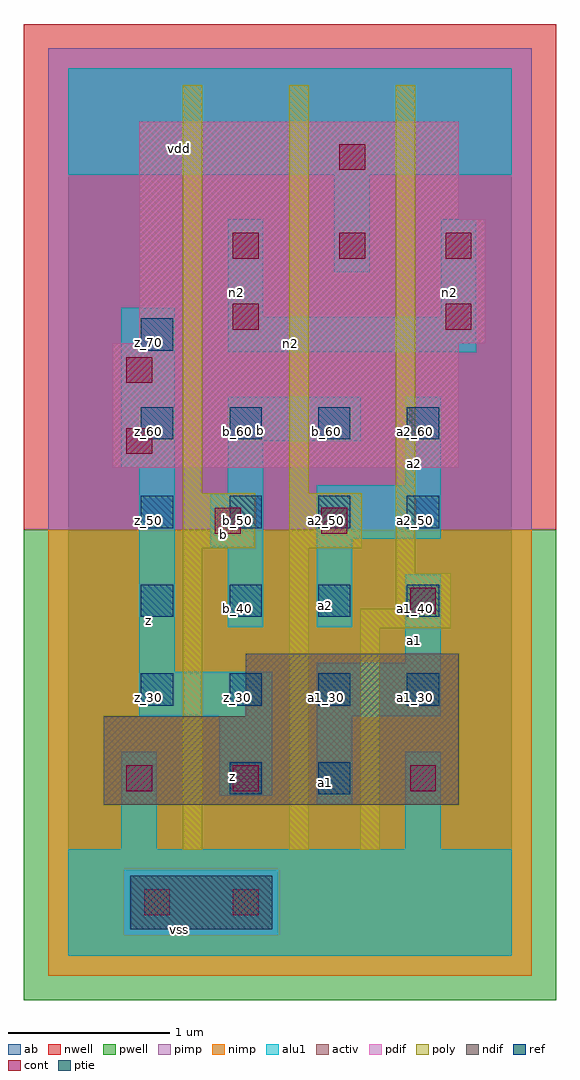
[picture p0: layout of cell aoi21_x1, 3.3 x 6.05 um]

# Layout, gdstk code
import gdstk
lib = gdstk.Library(unit=1e-6, precision=2.5e-09)
def R(c, l, rs):  # rectangles x0, y0, x1, y1
    for r in rs: c.add(gdstk.rectangle(r[:2], r[2:], *l))
def A(c, l, x, y, w, h, nx, ny, dx, dy):  # array of equal rectangles
    R(c, l, [(x+i*dx, y+j*dy, x+i*dx+w, y+j*dy+h) for i in range(nx) for j in range(ny)])
ndif = (3, 0)
pdif = (4, 0)
ptie = (6, 0)
ref = (24, 0)
cont = (25, 0)
pwell = (41, 0)
nwell = (42, 0)
activ = (43, 0)
pimp = (44, 0)
nimp = (45, 0)
poly = (46, 0)
alu1 = (49, 0)
ab = (63, 0)

aoi21_x1 = lib.new_cell('aoi21_x1')
R(aoi21_x1, ndif, [(0.22,0.935,2.42,1.485), (1.1,1.485,2.42,1.87)])
R(aoi21_x1, pdif, [(0.275,3.025,2.42,3.795), (0.44,3.795,2.585,4.565), (0.44,4.565,2.42,5.17)])
R(aoi21_x1, ptie, [(0.385,0.165,1.265,0.495)])
A(aoi21_x1, ref, 0.45, 1.55, 0.2, 0.2, 4, 4, 0.55, 0.55)
R(aoi21_x1, ref, [(1,1,1.2,1.2), (1.55,1,1.75,1.2), (0.45,3.75,0.65,3.95)])
A(aoi21_x1, cont, 1.02, 4.32, 0.16, 0.16, 3, 1, 0.66, 0)
R(aoi21_x1, cont, [(0.47,0.25,0.63,0.41), (1.02,0.25,1.18,0.41), (0.36,1.02,0.52,1.18), (1.02,1.02,1.18,1.18), (2.12,1.02,2.28,1.18), (2.12,2.12,2.28,2.28), (0.91,2.615,1.07,2.775), (1.57,2.615,1.73,2.775), (0.36,3.11,0.52,3.27), (0.36,3.55,0.52,3.71), (1.02,3.88,1.18,4.04), (2.34,3.88,2.5,4.04), (1.68,4.87,1.84,5.03)])
R(aoi21_x1, pwell, [(-0.275,-0.275,3.025,2.64)])
R(aoi21_x1, nwell, [(-0.275,2.64,3.025,5.775)])
R(aoi21_x1, activ, [(0.385,0.165,1.265,0.495), (0.22,0.935,2.42,1.485), (1.1,1.485,2.42,1.87), (0.275,3.025,2.42,3.795), (0.44,3.795,2.585,4.565), (0.44,4.565,2.42,5.17)])
R(aoi21_x1, pimp, [(0.345,0.125,1.305,0.535), (-0.125,2.64,2.875,5.625)])
R(aoi21_x1, nimp, [(-0.125,-0.125,2.875,0.125), (-0.125,0.125,0.345,0.535), (1.305,0.125,2.875,0.535), (-0.125,0.535,2.875,2.64)])
R(aoi21_x1, poly, [(0.71,0.655,0.83,2.525), (1.37,0.655,1.49,2.525), (1.81,0.655,1.93,2.03), (1.81,2.03,2.37,2.15), (2.03,2.15,2.37,2.37), (2.03,2.37,2.15,5.395), (0.71,2.525,1.16,2.865), (1.37,2.525,1.82,2.865), (0.71,2.865,0.83,5.395), (1.37,2.865,1.49,5.395)])
R(aoi21_x1, alu1, [(0,0,2.75,0.66), (0.33,0.66,0.55,1.265), (2.09,0.66,2.31,1.265), (1.54,0.935,1.76,1.485), (0.935,0.99,1.265,1.485), (0.44,1.485,1.265,1.76), (1.54,1.485,2.31,1.815), (0.44,1.76,0.66,3.025), (2.09,1.815,2.31,2.365), (0.99,2.035,1.21,2.53), (1.54,2.035,1.76,2.585), (0.88,2.53,1.21,2.86), (1.54,2.585,2.31,2.915), (0.99,2.86,1.21,3.19), (2.09,2.915,2.31,3.465), (0.33,3.025,0.66,4.015), (0.99,3.19,1.815,3.465), (0.99,3.74,2.53,3.96), (0.99,3.96,1.21,4.565), (2.31,3.96,2.53,4.565), (1.65,4.235,1.87,4.84), (0,4.84,2.75,5.5)])
R(aoi21_x1, ab, [(0,0,2.75,5.5)])
aoi21_x1.add(gdstk.Label('vss', (0.6875,0.165), layer=49, texttype=0))
aoi21_x1.add(gdstk.Label('a1', (1.595,1.0725), layer=49, texttype=0))
aoi21_x1.add(gdstk.Label('z', (1.0175,1.1125), layer=49, texttype=0))
aoi21_x1.add(gdstk.Label('a1', (2.145,1.9525), layer=49, texttype=0))
aoi21_x1.add(gdstk.Label('a2', (1.595,2.1725), layer=49, texttype=0))
aoi21_x1.add(gdstk.Label('b', (0.9625,2.6125), layer=49, texttype=0))
aoi21_x1.add(gdstk.Label('a2', (2.145,3.0525), layer=49, texttype=0))
aoi21_x1.add(gdstk.Label('b', (1.195,3.2575), layer=49, texttype=0))
aoi21_x1.add(gdstk.Label('z', (0.495,2.075), layer=49, texttype=0))
aoi21_x1.add(gdstk.Label('n2', (1.375,3.795), layer=49, texttype=0))
aoi21_x1.add(gdstk.Label('n2', (2.365,4.11), layer=49, texttype=0))
aoi21_x1.add(gdstk.Label('n2', (1.045,4.11), layer=49, texttype=0))
aoi21_x1.add(gdstk.Label('vdd', (0.6875,5.005), layer=49, texttype=0))
aoi21_x1.add(gdstk.Label('b_40', (1.05,2.15), layer=24, texttype=0))
aoi21_x1.add(gdstk.Label('b_60', (1.6,3.25), layer=24, texttype=0))
aoi21_x1.add(gdstk.Label('a2_50', (2.15,2.7), layer=24, texttype=0))
aoi21_x1.add(gdstk.Label('a2_40', (1.6,2.15), layer=24, texttype=0))
aoi21_x1.add(gdstk.Label('a1_20', (1.6,1.05), layer=24, texttype=0))
aoi21_x1.add(gdstk.Label('z_30', (0.5,1.6), layer=24, texttype=0))
aoi21_x1.add(gdstk.Label('z_20', (1.05,1.05), layer=24, texttype=0))
aoi21_x1.add(gdstk.Label('a1_30', (2.15,1.6), layer=24, texttype=0))
aoi21_x1.add(gdstk.Label('a2_60', (2.15,3.25), layer=24, texttype=0))
aoi21_x1.add(gdstk.Label('a2_50', (1.6,2.7), layer=24, texttype=0))
aoi21_x1.add(gdstk.Label('b_60', (1.05,3.25), layer=24, texttype=0))
aoi21_x1.add(gdstk.Label('b_50', (1.05,2.7), layer=24, texttype=0))
aoi21_x1.add(gdstk.Label('z_40', (0.5,2.15), layer=24, texttype=0))
aoi21_x1.add(gdstk.Label('z_50', (0.5,2.7), layer=24, texttype=0))
aoi21_x1.add(gdstk.Label('z_60', (0.5,3.25), layer=24, texttype=0))
aoi21_x1.add(gdstk.Label('z_70', (0.5,3.8), layer=24, texttype=0))
aoi21_x1.add(gdstk.Label('z_30', (1.05,1.6), layer=24, texttype=0))
aoi21_x1.add(gdstk.Label('a1_40', (2.15,2.15), layer=24, texttype=0))
aoi21_x1.add(gdstk.Label('a1_30', (1.6,1.6), layer=24, texttype=0))

lib.write_gds('aoi21_x1.gds')
